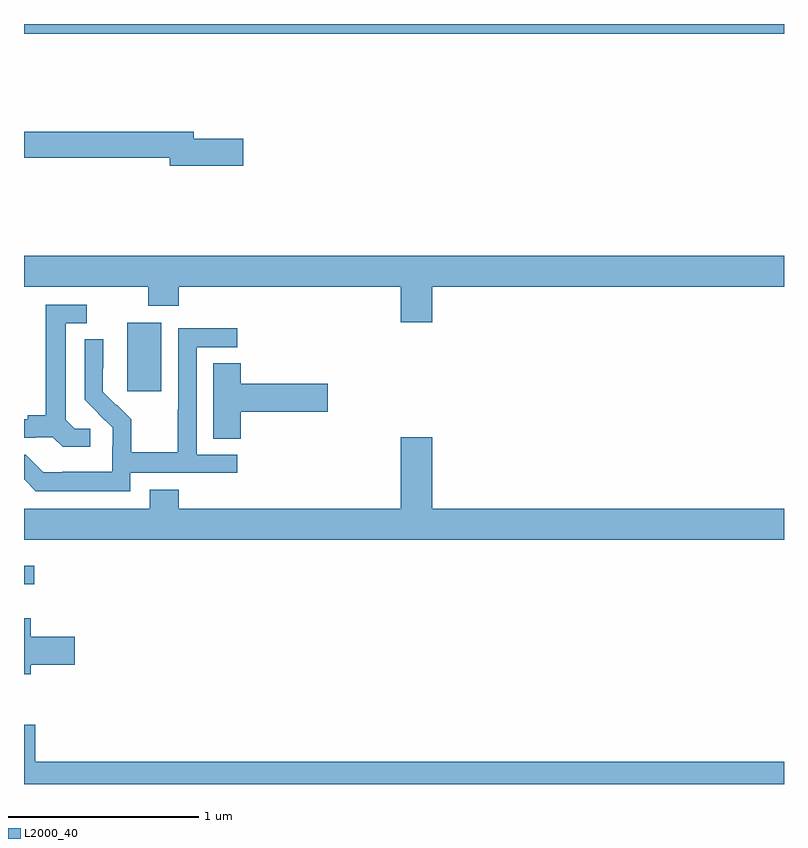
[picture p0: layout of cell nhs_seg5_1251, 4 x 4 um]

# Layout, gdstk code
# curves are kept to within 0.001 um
import gdstk
lib = gdstk.Library(unit=1e-6, precision=1e-09)
def R(c, l, rs):  # rectangles x0, y0, x1, y1
    for r in rs: c.add(gdstk.rectangle(r[:2], r[2:], *l))
def P(c, l, *ps):  # polygons
    for p in ps: c.add(gdstk.Polygon(p, *l))
L2000_40 = (2000, 40)

nhs_seg5_1251 = lib.new_cell('nhs_seg5_1251')
R(nhs_seg5_1251, L2000_40, [(187,865.851,187.054,865.948), (187.544,866.865,187.723,867.226), (187,868.748,191,868.799)])
P(nhs_seg5_1251, L2000_40, [(188.155,868.196),(187.894,868.196),(187.894,868.232),(187,868.232),(187,868.096),(187.766,868.096),(187.766,868.054),(188.155,868.054)],
  [(189.148,867.416),(191,867.416),(191,867.58),(187,867.58),(187,867.416),(187.654,867.416),(187.654,867.317),(187.814,867.317),(187.814,867.416),(188.984,867.416),(188.984,867.228),(189.148,867.228)],
  [(187.348,866.67),(187.266,866.67),(187.219,866.717),(187.219,867.225),(187.33,867.225),(187.33,867.321),(187.115,867.321),(187.115,866.741),(187.019,866.741),(187.019,866.718),(187,866.718),(187,866.622),(187.058,866.622),(187.058,866.625),(187.152,866.625),(187.204,866.573),(187.348,866.573)],
  [(187.56,866.436),(188.122,866.436),(188.122,866.532),(187.908,866.532),(187.908,867.099),(188.122,867.099),(188.122,867.198),(187.812,867.198),(187.812,866.768),(187.81,866.768),(187.81,866.545),(187.565,866.545),(187.565,866.719),(187.488,866.796),(187.485,866.793),(187.415,866.864),(187.416,867.14),(187.32,867.14),(187.32,866.822),(187.466,866.674),(187.466,866.577),(187.464,866.577),(187.464,866.443),(187.201,866.443),(187.201,866.439),(187.101,866.439),(187.008,866.532),(187,866.532),(187,866.402),(187.063,866.339),(187.56,866.339)],
  [(188.141,866.759),(188.599,866.759),(188.599,866.906),(188.141,866.906),(188.141,867.014),(187.997,867.014),(187.997,866.617),(188.141,866.617)],
  [(191,866.248),(189.148,866.248),(189.148,866.623),(188.984,866.623),(188.984,866.248),(187.814,866.248),(187.814,866.347),(187.661,866.347),(187.661,866.248),(187,866.248),(187,866.084),(191,866.084)],
  [(187.036,865.427),(187.267,865.427),(187.267,865.574),(187.036,865.574),(187.036,865.672),(187,865.672),(187,865.376),(187.036,865.376)],
  [(191,864.916),(187.058,864.916),(187.058,865.111),(187,865.111),(187,864.799),(191,864.799)])

lib.write_gds('nhs_seg5_1251.gds')
